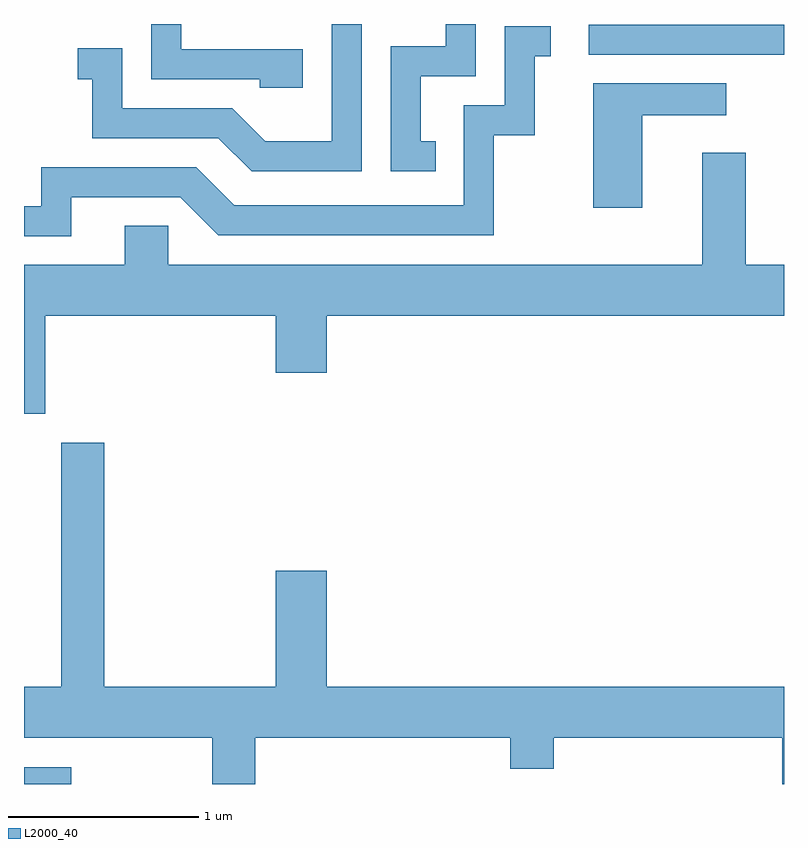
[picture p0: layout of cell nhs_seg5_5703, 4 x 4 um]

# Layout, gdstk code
import gdstk
lib = gdstk.Library(unit=1e-6, precision=1e-09)
def R(c, l, rs):  # rectangles x0, y0, x1, y1
    for r in rs: c.add(gdstk.rectangle(r[:2], r[2:], *l))
def P(c, l, *ps):  # polygons
    for p in ps: c.add(gdstk.Polygon(p, *l))
L2000_40 = (2000, 40)

nhs_seg5_5703 = lib.new_cell('nhs_seg5_5703')
R(nhs_seg5_5703, L2000_40, [(353.611,1492.072,353.859,1492.159), (356.583,1495.911,357.611,1496.069)])
P(nhs_seg5_5703, L2000_40, [(355.079,1495.939),(354.439,1495.939),(354.439,1496.072),(354.281,1496.072),(354.281,1495.781),(354.851,1495.781),(354.851,1495.736),(355.079,1495.736)],
  [(355.778,1495.454),(355.699,1495.454),(355.699,1495.796),(355.989,1495.796),(355.989,1496.072),(355.831,1496.072),(355.831,1495.954),(355.541,1495.954),(355.541,1495.296),(355.778,1495.296)],
  [(355.389,1496.072),(355.231,1496.072),(355.231,1495.454),(354.882,1495.454),(354.707,1495.629),(354.129,1495.629),(354.129,1495.944),(353.893,1495.944),(353.893,1495.781),(353.971,1495.781),(353.971,1495.471),(354.634,1495.471),(354.809,1495.296),(355.389,1495.296)],
  [(353.859,1495.161),(354.434,1495.161),(354.634,1494.961),(356.084,1494.961),(356.084,1495.486),(356.299,1495.486),(356.299,1495.901),(356.383,1495.901),(356.383,1496.059),(356.141,1496.059),(356.141,1495.644),(355.926,1495.644),(355.926,1495.119),(354.717,1495.119),(354.517,1495.319),(353.701,1495.319),(353.701,1495.114),(353.611,1495.114),(353.611,1494.956),(353.859,1494.956)],
  [(356.864,1495.591),(357.308,1495.591),(357.308,1495.759),(356.606,1495.759),(356.606,1495.106),(356.864,1495.106)],
  [(353.724,1494.536),(354.936,1494.536),(354.936,1494.236),(355.204,1494.236),(355.204,1494.536),(357.611,1494.536),(357.611,1494.804),(357.409,1494.804),(357.409,1495.394),(357.181,1495.394),(357.181,1494.804),(354.369,1494.804),(354.369,1495.009),(354.141,1495.009),(354.141,1494.804),(353.611,1494.804),(353.611,1494.021),(353.724,1494.021)],
  [(354.601,1492.072),(354.829,1492.072),(354.829,1492.316),(356.171,1492.316),(356.171,1492.151),(356.399,1492.151),(356.399,1492.316),(357.601,1492.316),(357.601,1492.072),(357.611,1492.072),(357.611,1492.584),(355.204,1492.584),(355.204,1493.194),(354.936,1493.194),(354.936,1492.584),(354.034,1492.584),(354.034,1493.869),(353.806,1493.869),(353.806,1492.584),(353.611,1492.584),(353.611,1492.316),(354.601,1492.316)])

lib.write_gds('nhs_seg5_5703.gds')
